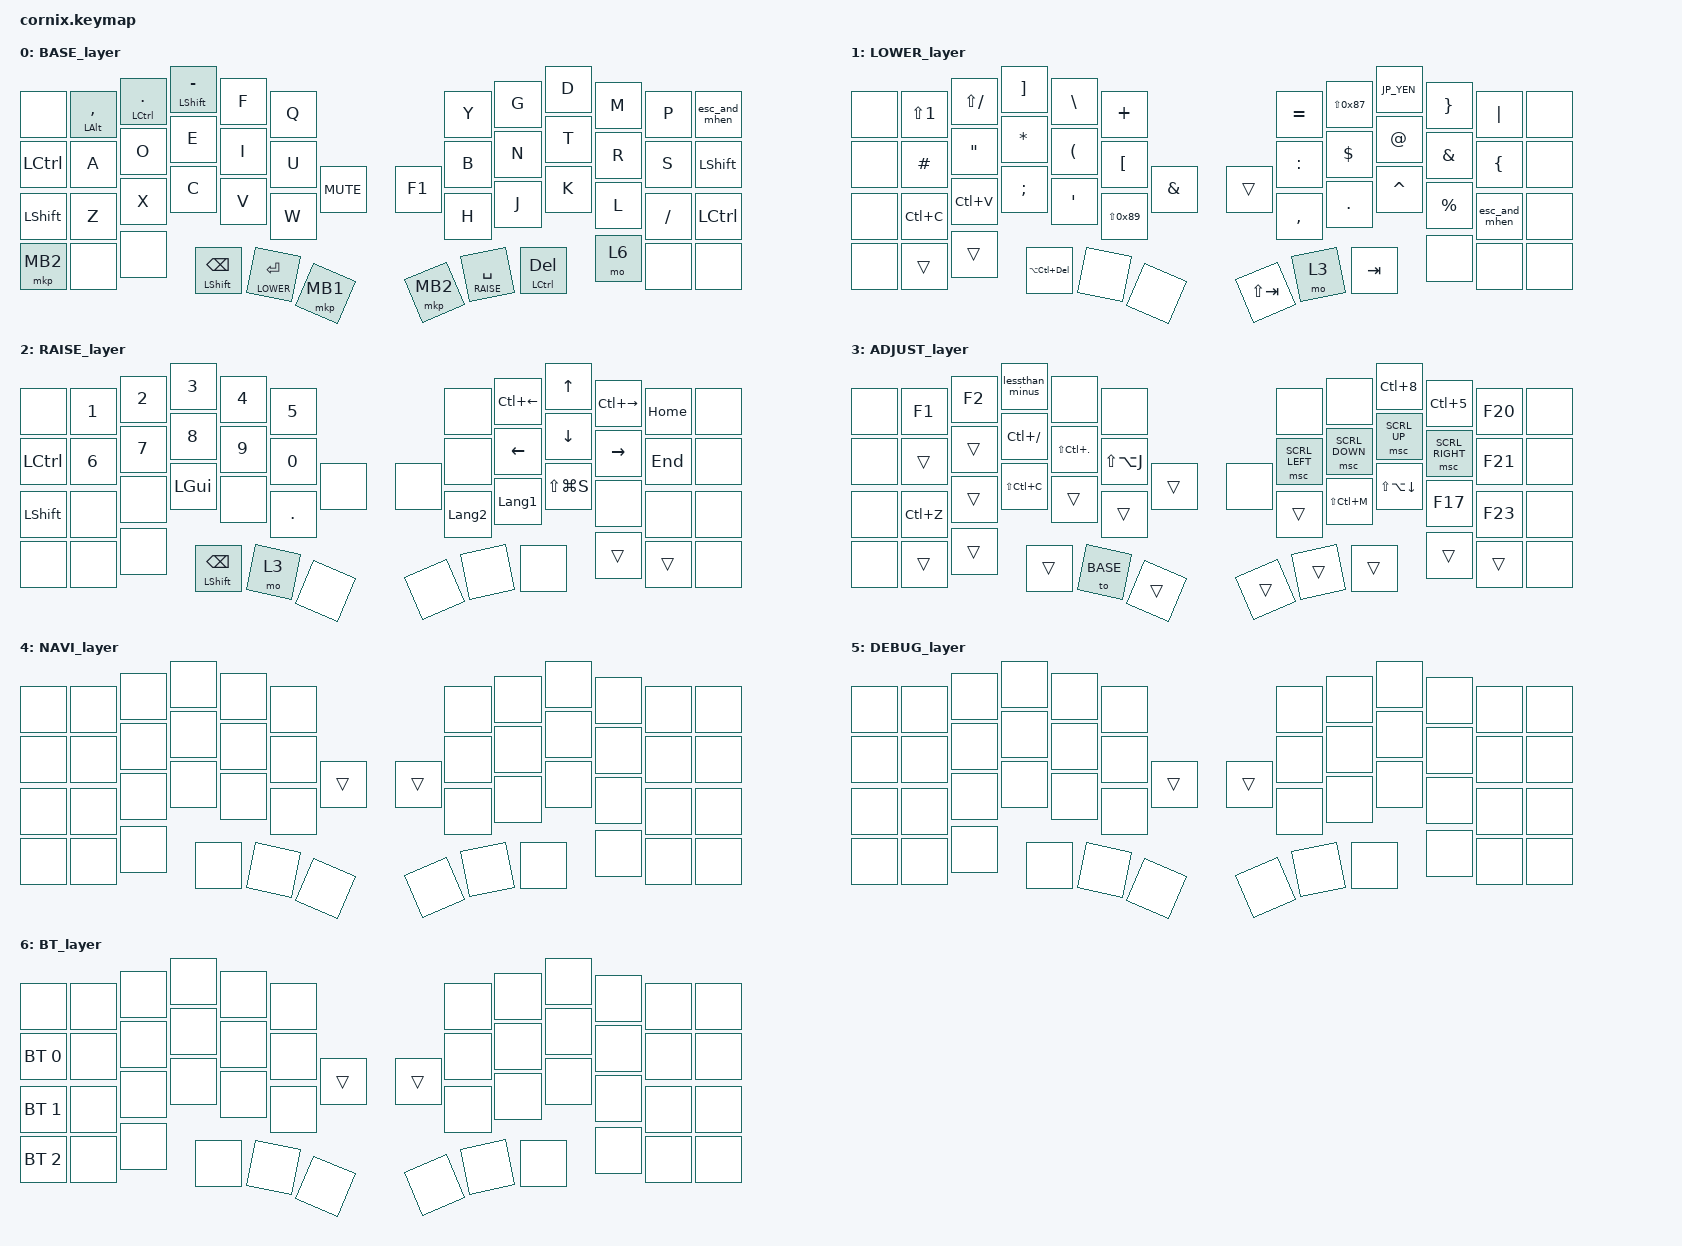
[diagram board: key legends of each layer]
/*
 * Copyright (c) 2025 The ZMK Contributors
 *
 * SPDX-License-Identifier: MIT
 */

#include <dt-bindings/zmk/mouse.h>
#include <behaviors.dtsi>
#include <dt-bindings/zmk/bt.h>
#include <dt-bindings/zmk/keys.h>
#include <dt-bindings/zmk/pointing.h>

#define BASE 0
#define LOWER 1
#define RAISE 2
#define ADJUST 3
#define NAVI 4
#define DEBUG 5
#define BT 6

// OS設定を日本語キーボードのまま使用するための変換定義


#define JP_DQUOTE       AT                // "
#define JP_AMPERSAND    CARET             // &
#define JP_QUOTE        AMPERSAND          // '
#define JP_EQUAL        UNDER              // =
#define JP_CARET        EQUAL              // ^
#define JP_YEN          0x89               // ¥
#define JP_PLUS         COLON              // +
#define JP_TILDE        PLUS               // ~
#define JP_PIPE         LS(0x89)           // |
#define JP_AT           LEFT_BRACKET      // @
#define JP_COLON        SINGLE_QUOTE      // :
#define JP_ASTERISK     DOUBLE_QUOTES     // *
#define JP_BACKQUOTE    LEFT_BRACE        // `
#define JP_UNDERSCORE   LS(0x87)          // _
#define JP_LBRACKET     RIGHT_BRACKET     // [
#define JP_RBRACKET     BACKSLASH         // ]
#define JP_LPAREN       ASTERISK          // (
#define JP_RPAREN       LEFT_PARENTHESIS  // )
#define JP_LBRACE       RIGHT_BRACE        // {
#define JP_RBRACE       PIPE              // }
#define JP_KANA         LANGUAGE_1        // かな
#define JP_EISU         LANGUAGE_2        // 英数
#define JP_HANZEN       GRAVE             // 半角/全角

&mt {
    flavor = "balanced";
    quick-tap-ms = <0>;
};

/ {
    combos {
        compatible = "zmk,combos";

        BT_reset {
            bindings = <&bt BT_CLR>;
            key-positions = <1 5>;
            layers = <ADJUST>;
        };

        tab {
            bindings = <&kp TAB>;
            key-positions = <14 15>;
            layers = <BASE>;
        };

        dq {
            bindings = <&kp DOUBLE_QUOTES>;
            key-positions = <22 21>;
            layers = <BASE>;
        };
    };

    macros {
        to_layer_0: to_layer_0 {
            compatible = "zmk,behavior-macro-one-param";
            #binding-cells = <1>;
            bindings = <&to 0 &macro_param_1to1 &kp MACRO_PLACEHOLDER>;
            label = "TO_LAYER_0";
        };

        esc_and_mhen: esc_and_mhen {
            compatible = "zmk,behavior-macro";
            #binding-cells = <0>;
            #key-cells = <0>;
            bindings = <&kp ESC &kp LANGUAGE_2>;
            label = "ESC_AND_MHEN";
        };

        lessthan_minus: lessthan_minus {
            compatible = "zmk,behavior-macro";
            #binding-cells = <0>;
            #key-cells = <0>;
            bindings = <&kp LESS_THAN &kp MINUS>;
            label = "LEFT_ARROW";
        };
    };

    behaviors {
        tapdance_kana: tapdance_kana {
            compatible = "zmk,behavior-tap-dance";
            label = "TAPDANCE_KANA";
            #binding-cells = <0>;
            bindings = <&kp INT2>, <&kp LANGUAGE_2>, <&sl 1>;

            tapping-term-ms = <400>;
        };

        transparent: transparent {
            compatible = "zmk,behavior-none"; // もしくは behavior-transparent
            #binding-cells = <0>;
            #key-cells = <0>;
        };

        enc_key_press: enc_key_press {
            compatible = "zmk,behavior-sensor-rotate-key-press";
            #sensor-binding-cells = <0>;
            #key-cells = <0>; 
        };
    };

    keymap {
        compatible = "zmk,keymap";

        BASE_layer {
            // -----------------------------------------------------------------------------------------
            // | none |  ,  |  .  |  -  |  f  |  q  |                  |  y  |  g   |  d  |  m  |  P  | ESC  |
            // | ctrl |  a  |  o  |  e  |  i  |  u  |  MUTE  |  |  UP  |  b  |  n   |  t  |  r  |  s  | CTRL |
            // | shft |  z  |  x  |  c  |  v  |  v  |  MCLK  |  | DOWN |  h  |  j   |  k  |  l  |  /  | SHFT |
            // | MB2  | none| none| bcp | ent | MB1 |                  | MB2 | spc  | del | none| none| none |

            bindings = <
&none           &mt LEFT_ALT COMMA  &mt LCTRL PERIOD  &mt LEFT_SHIFT MINUS      &kp F            &kp Q                         &kp Y     &kp G            &kp D             &kp M  &kp P      &esc_and_mhen
&kp LCTRL       &kp A               &kp O             &kp E                     &kp I            &kp U                         &kp B     &kp N            &kp T             &kp R  &kp S      &kp LEFT_SHIFT
&kp LEFT_SHIFT  &kp Z               &kp X             &kp C                     &kp V            &kp W     &kp C_MUTE  &kp F1  &kp H     &kp J            &kp K             &kp L  &kp SLASH  &kp LCTRL
&mkp MB2        &none               &none             &mt LEFT_SHIFT BACKSPACE  &lt LOWER ENTER  &mkp MB1                      &mkp MB2  &lt RAISE SPACE  &mt LCTRL DELETE  &mo 6  &none      &none
            >;

            
        };

        LOWER_layer {
            bindings = <
&none  &kp LS(NUMBER_1)  &kp LS(SLASH)      &kp RIGHT_BRACKET   &kp BSLH              &kp PLUS                                &kp EQUAL    &kp JP_UNDERSCORE  &kp JP_YEN       &kp RIGHT_BRACE  &kp PIPE        &none
&none  &kp HASH          &kp DOUBLE_QUOTES  &kp ASTERISK        &kp LEFT_PARENTHESIS  &kp LEFT_BRACKET                        &kp COLON    &kp DOLLAR      &kp AT_SIGN  &kp AMPERSAND    &kp LEFT_BRACE  &none
&none  &kp LC(C)         &kp LC(V)          &kp SEMICOLON       &kp SINGLE_QUOTE      &kp JP_PIPE   &kp JP_QUOTE  &trans  &kp COMMA    &kp PERIOD      &kp CARET    &kp PERCENT      &esc_and_mhen   &none
&none  &trans            &trans             &kp LA(LC(DELETE))  &none                 &none                                   &kp LS(TAB)  &mo 3           &kp TAB      &none            &none           &none
            >;

            
        };

        RAISE_layer {
            bindings = <
&none           &kp NUMBER_1  &kp NUMBER_2  &kp NUMBER_3              &kp NUMBER_4  &kp N5                    &none           &kp LC(LEFT)    &kp UP_ARROW   &kp LC(RIGHT)  &kp HOME  &none
&kp LCTRL       &kp NUMBER_6  &kp N7        &kp N8                    &kp N9        &kp N0                    &none           &kp LEFT        &kp DOWN       &kp RIGHT      &kp END   &none
&kp LEFT_SHIFT  &none         &none         &kp LEFT_GUI              &none         &kp PERIOD  &none  &none  &kp LANGUAGE_2  &kp LANGUAGE_1  &kp LS(LG(S))  &none          &none     &none
&none           &none         &none         &mt LEFT_SHIFT BACKSPACE  &mo 3         &none                     &none           &none           &none          &trans         &trans    &none
            >;

            
        };

        ADJUST_layer {
            bindings = <
&none  &kp F1     &kp F2  &lessthan_minus  &none            &none                         &none           &none           &kp LC(N8)        &kp LC(N5)       &kp F20  &none
&none  &trans     &trans  &kp LC(SLASH)    &kp LS(LC(DOT))  &kp LS(LA(J))                 &msc SCRL_LEFT  &msc SCRL_DOWN  &msc SCRL_UP      &msc SCRL_RIGHT  &kp F21  &none
&none  &kp LC(Z)  &trans  &kp LS(LC(C))    &trans           &trans         &trans  &none  &trans          &kp LS(LC(M))   &kp LS(LA(DOWN))  &kp F17          &kp F23  &none
&none  &trans     &trans  &trans           &to BASE         &trans                        &trans          &trans          &trans            &trans           &trans   &none
            >;

            
        };

        NAVI_layer {
            bindings = <
&none  &none  &none  &none  &none  &none                  &none  &none  &none  &none  &none  &none
&none  &none  &none  &none  &none  &none                  &none  &none  &none  &none  &none  &none
&none  &none  &none  &none  &none  &none  &trans  &trans  &none  &none  &none  &none  &none  &none
&none  &none  &none  &none  &none  &none                  &none  &none  &none  &none  &none  &none
            >;

            
        };

        DEBUG_layer {
            bindings = <
&none  &none  &none  &none  &none  &none                  &none  &none  &none  &none  &none  &none
&none  &none  &none  &none  &none  &none                  &none  &none  &none  &none  &none  &none
&none  &none  &none  &none  &none  &none  &trans  &trans  &none  &none  &none  &none  &none  &none
&none  &none  &none  &none  &none  &none                  &none  &none  &none  &none  &none  &none
            >;

            
        };

        BT_layer {
            bindings = <
&none         &none  &none  &none  &none  &none                  &none  &none  &none  &none  &none  &none
&bt BT_SEL 0  &none  &none  &none  &none  &none                  &none  &none  &none  &none  &none  &none
&bt BT_SEL 1  &none  &none  &none  &none  &none  &trans  &trans  &none  &none  &none  &none  &none  &none
&bt BT_SEL 2  &none  &none  &none  &none  &none                  &none  &none  &none  &none  &none  &none
            >;

            
        };
    };
};
&lt {
    #binding-cells = <2>;
    tapping-term-ms = <200>;
    flavor = "tap-preferred";
    };











